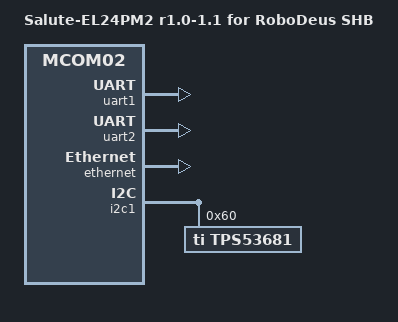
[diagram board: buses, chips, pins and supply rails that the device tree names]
// SPDX-License-Identifier: GPL-2.0+
/*
 * Copyright 2022 RnD Center "ELVEES", JSC
 *
 * This program is free software; you can redistribute it and/or modify
 * it under the terms of the GNU General Public License version 2 as
 * published by the Free Software Foundation.
 */

/dts-v1/;

#include "mcom02-salute-el24pm2-r1.0-1.1.dtsi"

/ {
	model = "Salute-EL24PM2 r1.0-1.1 for RoboDeus SHB";
	compatible = "elvees,salute-el24pm2-r1.1",
		     "elvees,salute-el24pm2-r1.0",
		     "elvees,salute-el24pm2",
		     "elvees,mcom02";

	aliases {
		spi0 = &spi0;
	};
};

&uart1 {
	status = "okay";
};

&uart2 {
	status = "okay";
};

&ethernet {
	status = "okay";
};

/* RoboDeus-SHB power controller connect */

&i2c1 {
	tps53681@60 {
		compatible = "ti,tps53681";
		reg = <0x60>;
	};
};

/* RoboDeus-SHB board GPIO setup (power control, reset, etc.) */

&gpioa {
	skip-gpio-list = <31 17 16 15>;
};

&gpiod {
	skip-gpio-list = <14 13 12 11 10 9 8 7>;
};

